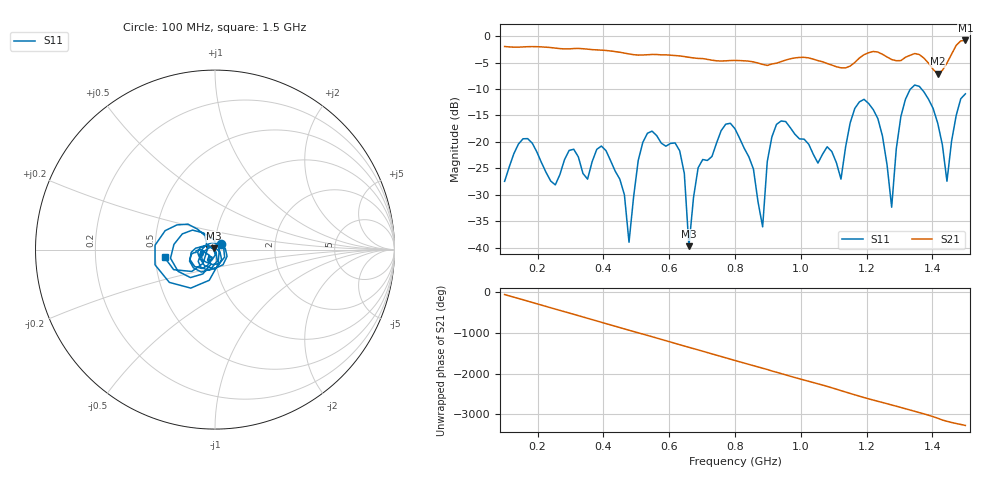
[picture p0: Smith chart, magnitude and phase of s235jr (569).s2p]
! NanoVNA-App
! Date: 2025-09-25 15:08:35
! Start: 100MHz Stop: 1,5GHz Points: 101
! S-Parameter data: F S11 S21 S12 S22
# Hz S RI R 50
!  Frequency  S11_Real  S11_Imag  S21_Real  S21_Imag  S12_Real  S12_Imag  S22_Real  S22_Imag
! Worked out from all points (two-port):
!   101 points, 100 MHz to 1.5 GHz, reference 50 ohm
!   highest |S21| = -0.82 dB at 1.5 GHz (marker M1); lowest = -7.1 dB at 1.416 GHz (marker M2)
!   |S21| within 3 dB of the highest: start of sweep to 640.4 MHz; 1.185 GHz to 1.258 GHz (73.37 MHz wide, 6.01 % of centre) (the widest 2 of 4)
!   lowest |S11| = -39.7 dB at 660 MHz (marker M3), VSWR 1.02, Z = 49.2 + j0.631 ohm
!   |S11| at or under -10 dB: start of sweep to 1.333 GHz; 1.367 GHz to end of sweep
!   S12 and S22 are empty: the file has one direction only
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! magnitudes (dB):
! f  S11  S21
! 100 MHz  -27.5  -2.0
! 156 MHz  -19.4  -2.0
! 338 MHz  -26.0  -2.4
! 408 MHz  -21.7  -2.7
! 478 MHz  -39.0  -3.4
! 520 MHz  -20.1  -3.6
! 576 MHz  -20.2  -3.5
! 632 MHz  -21.7  -3.7
! 660 MHz  -39.7  -4.0
! 688 MHz  -24.9  -4.2
! 800 MHz  -17.5  -4.6
! 884 MHz  -36.1  -5.3
! 926 MHz  -16.7  -5.1
! 1.038 GHz  -22.4  -4.4
! 1.122 GHz  -27.0  -6.0
! 1.192 GHz  -12.0  -3.5
! 1.248 GHz  -18.9  -3.4
! 1.276 GHz  -32.4  -4.4
! 1.332 GHz  -10.1  -3.6
! 1.416 GHz  -16.5  -7.1
! 1.444 GHz  -27.4  -5.1
! 1.5 GHz  -10.9  -0.8
